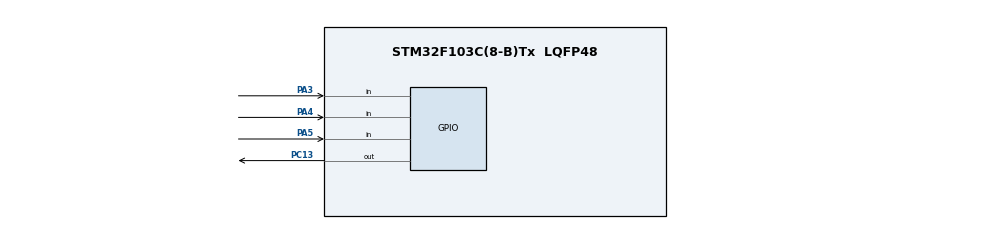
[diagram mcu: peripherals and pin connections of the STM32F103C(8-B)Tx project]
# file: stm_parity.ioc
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Mcu.Family=STM32F1
Mcu.Name=STM32F103C(8-B)Tx
Mcu.Package=LQFP48
NVIC.PriorityGroup=NVIC_PRIORITYGROUP_4
PA13.Mode=Serial_Wire
PA13.Signal=SYS_JTMS-SWDIO
PA14.Mode=Serial_Wire
PA14.Signal=SYS_JTCK-SWCLK
PA3.Signal=GPIO_Input
PA4.Signal=GPIO_Input
PA5.Signal=GPIO_Input
PC13-TAMPER-RTC.Signal=GPIO_Output
ProjectManager.HeapSize=0x200
ProjectManager.StackSize=0x400
ProjectManager.TargetToolchain=STM32CubeIDE
RCC.APB1Freq_Value=8000000
RCC.APB2Freq_Value=8000000
board=custom

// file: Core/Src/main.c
/* USER CODE BEGIN Header */

/* USER CODE END Header */
#include "main.h"

/* USER CODE BEGIN Includes */
	#include <stdint.h>
	#include <stdio.h>
/* USER CODE END Includes */

void SystemClock_Config(void);
static void MX_GPIO_Init(void);
/* USER CODE BEGIN PFP */
extern void parity(uint32_t switch_state,
		uint32_t *odd_result);
/* USER CODE END PFP */

int main(void)
{

  /* MCU Configuration--------------------------------------------------------*/

  /* Reset of all peripherals, Initializes the Flash interface and the Systick. */
  HAL_Init();

  /* Configure the system clock */
  SystemClock_Config();

  /* Initialize all configured peripherals */
  MX_GPIO_Init();
  /* USER CODE BEGIN 2 */
  uint32_t keys = 0;
  uint32_t is_odd = 0;

  parity(keys, &is_odd);

  /* USER CODE END 2 */

  /* Infinite loop */
    while (1)
    {

      /* USER CODE BEGIN 3 */

      uint8_t b0 = HAL_GPIO_ReadPin(GPIOA, GPIO_PIN_3);
      uint8_t b1 = HAL_GPIO_ReadPin(GPIOA, GPIO_PIN_4);
      uint8_t b2 = HAL_GPIO_ReadPin(GPIOA, GPIO_PIN_5);

      keys = (b2 << 2) | (b1 << 1) | b0;

      parity(keys, &is_odd);

      if (is_odd == 1) {
          HAL_GPIO_WritePin(GPIOC, GPIO_PIN_13, GPIO_PIN_RESET);
      } else {
          HAL_GPIO_WritePin(GPIOC, GPIO_PIN_13, GPIO_PIN_SET);
      }

      HAL_Delay(50);
    }
    /* USER CODE END 3 */
}
void SystemClock_Config(void)
{
  RCC_OscInitTypeDef RCC_OscInitStruct = {0};
  RCC_ClkInitTypeDef RCC_ClkInitStruct = {0};

  /** Initializes the RCC Oscillators according to the specified parameters
  * in the RCC_OscInitTypeDef structure.
  */
  RCC_OscInitStruct.OscillatorType = RCC_OSCILLATORTYPE_HSI;
  RCC_OscInitStruct.HSIState = RCC_HSI_ON;
  RCC_OscInitStruct.HSICalibrationValue = RCC_HSICALIBRATION_DEFAULT;
  RCC_OscInitStruct.PLL.PLLState = RCC_PLL_NONE;
  if (HAL_RCC_OscConfig(&RCC_OscInitStruct) != HAL_OK)
  {
    Error_Handler();
  }

  /** Initializes the CPU, AHB and APB buses clocks
  */
  RCC_ClkInitStruct.ClockType = RCC_CLOCKTYPE_HCLK|RCC_CLOCKTYPE_SYSCLK
                              |RCC_CLOCKTYPE_PCLK1|RCC_CLOCKTYPE_PCLK2;
  RCC_ClkInitStruct.SYSCLKSource = RCC_SYSCLKSOURCE_HSI;
  RCC_ClkInitStruct.AHBCLKDivider = RCC_SYSCLK_DIV1;
  RCC_ClkInitStruct.APB1CLKDivider = RCC_HCLK_DIV1;
  RCC_ClkInitStruct.APB2CLKDivider = RCC_HCLK_DIV1;

  if (HAL_RCC_ClockConfig(&RCC_ClkInitStruct, FLASH_LATENCY_0) != HAL_OK)
  {
    Error_Handler();
  }
}

static void MX_GPIO_Init(void)
{
  GPIO_InitTypeDef GPIO_InitStruct = {0};

  /* GPIO Ports Clock Enable */
  __HAL_RCC_GPIOC_CLK_ENABLE();
  __HAL_RCC_GPIOA_CLK_ENABLE();

  /*Configure GPIO pin Output Level */
  HAL_GPIO_WritePin(GPIOC, GPIO_PIN_13, GPIO_PIN_RESET);

  /*Configure GPIO pin : PC13 */
  GPIO_InitStruct.Pin = GPIO_PIN_13;
  GPIO_InitStruct.Mode = GPIO_MODE_OUTPUT_PP;
  GPIO_InitStruct.Pull = GPIO_NOPULL;
  GPIO_InitStruct.Speed = GPIO_SPEED_FREQ_LOW;
  HAL_GPIO_Init(GPIOC, &GPIO_InitStruct);

  /*Configure GPIO pins : PA3 PA4 PA5 */
  GPIO_InitStruct.Pin = GPIO_PIN_3|GPIO_PIN_4|GPIO_PIN_5;
  GPIO_InitStruct.Mode = GPIO_MODE_INPUT;
  GPIO_InitStruct.Pull = GPIO_NOPULL;
  HAL_GPIO_Init(GPIOA, &GPIO_InitStruct);

}

void Error_Handler(void)
{
  __disable_irq();
  while (1)
  {
  }
}
